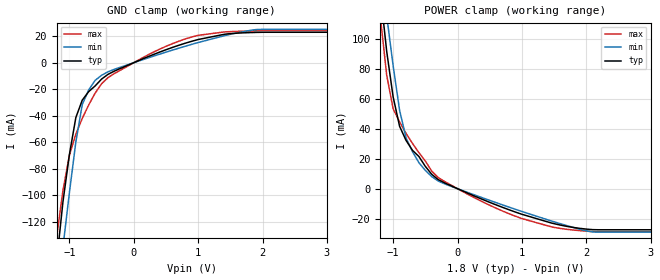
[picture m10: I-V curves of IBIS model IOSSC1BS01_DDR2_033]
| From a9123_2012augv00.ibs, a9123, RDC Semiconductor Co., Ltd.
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[Model]   IOSSC1BS01_DDR2_033
|   IOSSC1BS01_DDR2_033  MODEL
|   DATE   :  2009/9/1 ;
|   REVISION :  0.1.1 ;
|   Model generated   Mon Aug 17 15:45:35 2009
Model_type  Input
Polarity   Non-Inverting
| Signals
Vinl = 0.700
Vinh = 1.100
| variable   typ   min   max
C_comp   3.3989pf   3.0080pf   4.3972pf
[Model Spec]
|   Subparameter   typ   min   max
Vinh   1.100   1.050   1.150
Vinl   0.700   0.650   0.750
[Temperature Range]   25   125   -40
|   typ   min   max
[Voltage Range]   1.8V   1.7V   1.9V
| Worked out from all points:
|   POWER clamp passes 1 mA (typ) near -0.05 V on its own axis
[GND Clamp]
|   Voltage   I(typ)   I(min)   I(max)
-1.8V     -460.4mA   -490.2mA   -432.3mA
-1.2V     -151mA     -185.4mA   -132.3mA
-1.1V     -105mA     -139.2mA   -96.38mA
-1V       -69.39mA   -98.19mA   -69.93mA
-900mV    -41.43mA   -59.88mA   -53.98mA
-800mV    -28.28mA   -31.58mA   -42.06mA
-700mV    -21.84mA   -20.59mA   -31.9mA
-500mV    -12.38mA   -9.514mA   -15.91mA
300mV     6.066mA    4.844mA    7.821mA
1V        17.48mA    15.22mA    20.65mA
1.9V      22.87mA    25.01mA    24.05mA
3.6V      22.97mA    25.18mA    24.25mA
[POWER Clamp]
|   Voltage   I(typ)   I(min)   I(max)
|( VDD-Vmeas )
-1.8V     409.8mA    433.4mA    394.7mA
-1.2V     131mA      154.9mA    115.2mA
-1.1V     91.54mA    115.4mA    75.63mA
-1V       61.17mA    81.96mA    53.28mA
-900mV    41.63mA    52.32mA    44.56mA
-800mV    32.24mA    33.93mA    36.92mA
-600mV    21.47mA    17.36mA    24.08mA
-300mV    6.058mA    5.131mA    7.406mA
700mV     -12.45mA   -10.81mA   -14.9mA
1.46V     -22.91mA   -21.57mA   -25.47mA
2.1V      -27.33mA   -28.87mA   -28.61mA
3.6V      -27.41mA   -28.95mA   -28.89mA
